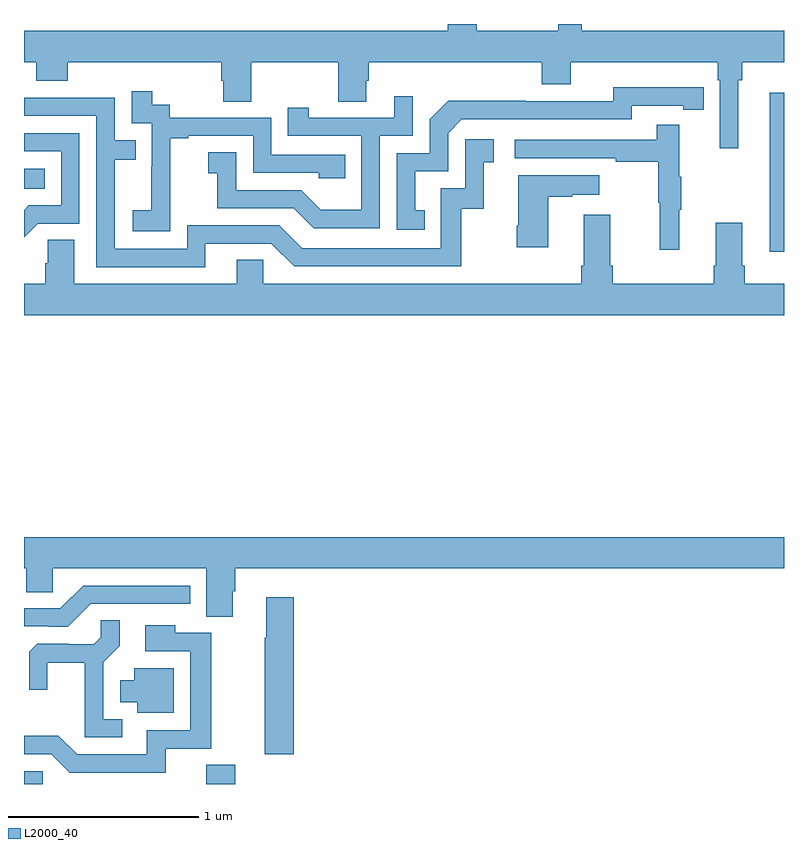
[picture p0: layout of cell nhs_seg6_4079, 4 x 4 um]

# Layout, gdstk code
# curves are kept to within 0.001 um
import gdstk
lib = gdstk.Library(unit=1e-6, precision=1e-09)
def R(c, l, rs):  # rectangles x0, y0, x1, y1
    for r in rs: c.add(gdstk.rectangle(r[:2], r[2:], *l))
def P(c, l, *ps):  # polygons
    for p in ps: c.add(gdstk.Polygon(p, *l))
L2000_40 = (2000, 40)

nhs_seg6_4079 = lib.new_cell('nhs_seg6_4079')
R(nhs_seg6_4079, L2000_40, [(351,979.5,351.099,979.566), (351.959,979.5,352.112,979.601), (354.926,982.302,355,983.137), (351,982.634,351.11,982.738)])
P(nhs_seg6_4079, L2000_40, [(354.76,983.204),(354.779,983.204),(354.779,983.3),(355,983.3),(355,983.464),(353.936,983.464),(353.936,983.5),(353.813,983.5),(353.813,983.464),(353.383,983.464),(353.383,983.5),(353.231,983.5),(353.231,983.464),(351,983.464),(351,983.3),(351.065,983.3),(351.065,983.201),(351.23,983.201),(351.23,983.3),(352.037,983.3),(352.037,983.202),(352.049,983.202),(352.049,983.092),(352.197,983.092),(352.197,983.3),(352.654,983.3),(352.654,983.092),(352.801,983.092),(352.801,983.202),(352.814,983.202),(352.814,983.3),(353.726,983.3),(353.726,983.183),(353.878,983.183),(353.878,983.3),(354.65,983.3),(354.65,983.204),(354.663,983.204),(354.663,982.845),(354.76,982.845)],
  [(353.108,982.521),(353.059,982.521),(353.059,982.725),(353.232,982.725),(353.232,982.926),(353.304,982.998),(354.198,982.998),(354.198,983.07),(354.47,983.07),(354.47,983.05),(354.578,983.05),(354.578,983.166),(354.102,983.167),(354.102,983.094),(353.642,983.094),(353.642,983.096),(353.234,983.096),(353.136,982.998),(353.136,982.821),(352.962,982.821),(352.962,982.416),(353.108,982.416)],
  [(351.771,982.615),(351.77,982.615),(351.77,982.899),(351.865,982.899),(351.865,982.911),(352.206,982.911),(352.206,982.716),(352.551,982.716),(352.551,982.689),(352.691,982.689),(352.691,982.812),(352.302,982.812),(352.302,983.007),(351.768,983.007),(351.768,983.076),(351.676,983.076),(351.676,983.146),(351.567,983.146),(351.567,982.977),(351.672,982.977),(351.672,982.748),(351.671,982.748),(351.671,982.519),(351.573,982.519),(351.573,982.409),(351.771,982.409)],
  [(352.872,982.911),(353.046,982.911),(353.046,983.119),(352.949,983.119),(352.949,983.007),(352.498,983.007),(352.498,983.059),(352.387,983.059),(352.387,982.911),(352.776,982.911),(352.776,982.522),(352.562,982.522),(352.458,982.626),(352.116,982.626),(352.116,982.825),(351.969,982.825),(351.969,982.715),(352.018,982.715),(352.018,982.53),(352.421,982.53),(352.526,982.425),(352.872,982.425)],
  [(351.955,982.344),(352.302,982.344),(352.422,982.224),(353.302,982.224),(353.302,982.527),(353.42,982.527),(353.42,982.773),(353.473,982.773),(353.473,982.894),(353.322,982.894),(353.322,982.635),(353.193,982.635),(353.193,982.32),(352.464,982.32),(352.344,982.44),(351.858,982.44),(351.858,982.317),(351.477,982.317),(351.477,982.786),(351.587,982.786),(351.587,982.887),(351.477,982.887),(351.477,983.112),(351,983.112),(351,983.016),(351.381,983.016),(351.381,982.221),(351.955,982.221)],
  [(354.449,982.523),(354.46,982.523),(354.46,982.697),(354.449,982.697),(354.449,982.969),(354.331,982.969),(354.331,982.89),(353.583,982.89),(353.583,982.794),(354.115,982.794),(354.115,982.774),(354.339,982.774),(354.339,982.56),(354.346,982.56),(354.346,982.311),(354.449,982.311)],
  [(351.072,982.449),(351.291,982.449),(351.291,982.926),(351,982.926),(351,982.83),(351.195,982.83),(351.195,982.545),(351.026,982.545),(351,982.519),(351,982.378)],
  [(353.758,982.591),(353.885,982.591),(353.885,982.601),(354.028,982.601),(354.028,982.705),(353.6,982.705),(353.6,982.438),(353.593,982.438),(353.593,982.326),(353.758,982.326)],
  [(355,982.132),(354.794,982.132),(354.794,982.228),(354.781,982.228),(354.781,982.453),(354.641,982.453),(354.641,982.228),(354.629,982.228),(354.629,982.132),(354.098,982.132),(354.098,982.228),(354.085,982.228),(354.085,982.495),(353.945,982.495),(353.945,982.228),(353.933,982.228),(353.933,982.132),(352.26,982.132),(352.26,982.259),(352.121,982.259),(352.121,982.132),(351.265,982.132),(351.265,982.364),(351.126,982.364),(351.126,982.241),(351.113,982.241),(351.113,982.132),(351,982.132),(351,981.968),(355,981.968)],
  [(352.099,980.514),(352.112,980.514),(352.112,980.636),(355,980.636),(355,980.8),(351,980.8),(351,980.636),(351.011,980.636),(351.011,980.509),(351.15,980.509),(351.15,980.636),(351.959,980.636),(351.959,980.38),(352.099,980.38)],
  [(351.351,980.448),(351.874,980.448),(351.874,980.544),(351.312,980.544),(351.192,980.424),(351,980.424),(351,980.331),(351.13,980.331),(351.13,980.328),(351.231,980.328)],
  [(352.421,980.482),(352.274,980.482),(352.274,980.269),(352.267,980.269),(352.267,979.656),(352.421,979.656)],
  [(351.517,979.842),(351.417,979.842),(351.417,980.141),(351.503,980.227),(351.503,980.363),(351.405,980.363),(351.405,980.272),(351.368,980.235),(351.234,980.235),(351.234,980.238),(351.069,980.238),(351.028,980.197),(351.028,979.995),(351.122,979.995),(351.122,980.138),(351.32,980.138),(351.32,979.746),(351.517,979.746)],
  [(351.746,979.686),(351.985,979.686),(351.985,980.295),(351.795,980.295),(351.795,980.335),(351.639,980.335),(351.639,980.199),(351.876,980.199),(351.876,979.782),(351.647,979.782),(351.647,979.656),(351.279,979.656),(351.181,979.755),(351,979.755),(351,979.656),(351.144,979.656),(351.24,979.56),(351.746,979.56)],
  [(351.787,980.11),(351.581,980.11),(351.581,980.047),(351.506,980.047),(351.506,979.931),(351.596,979.931),(351.596,979.874),(351.787,979.874)])

lib.write_gds('nhs_seg6_4079.gds')
